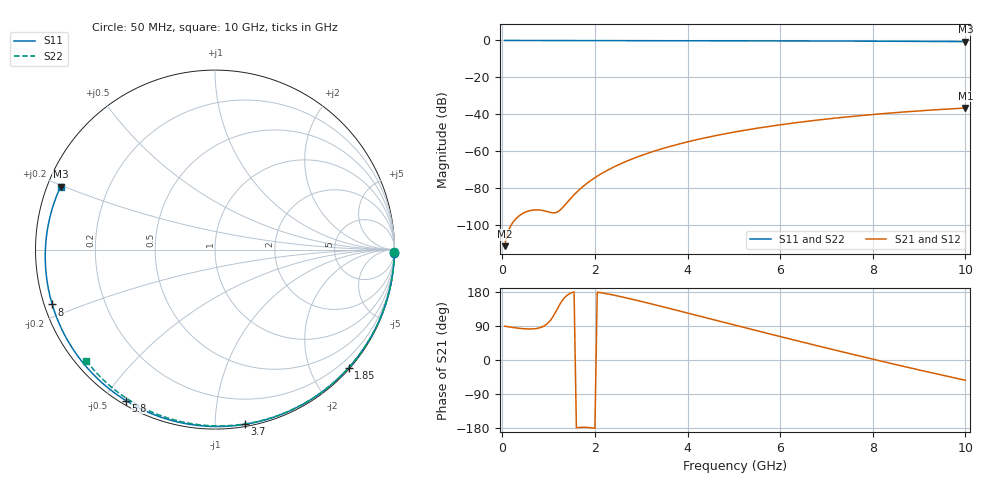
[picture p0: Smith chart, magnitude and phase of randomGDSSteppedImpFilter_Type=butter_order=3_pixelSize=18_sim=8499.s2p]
! freq	dB(S11)	phase(S11)	dB(S12)	phase(S12)
!  dB(S21)	phase(S21)	dB(S22)	phase(S22)
!S-par simulation data
#  GHz  S  DB  R 50
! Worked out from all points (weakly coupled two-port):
!   200 points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, 50 MHz to 10 GHz, reference 50 ohm
!   highest |S21| = -36.62 dB at 10 GHz (marker M1); lowest = -111.5 dB at 50 MHz (marker M2)
!   lowest |S11| = -0.6 dB at 10 GHz (marker M3), VSWR 27.34, Z = 1.9 + j9.79 ohm
!   |S11| at or under -10 dB: nowhere
!   |S22| runs from -0.5 to 0.0 dB; largest |S21 - S12| = 0
!   S11 on the Smith chart (normalised r, x): 50 MHz: open; 1.85 GHz: 0.02, -2.64; 3.7 GHz: 0.01, -1.19; 5.8 GHz: 0.02, -0.57; 8 GHz: 0.02, -0.16; 10 GHz: 0.04, +0.20
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0.05  -0.00 -1.2  -111.47 89.2  -111.47 89.2  -0.00 -0.8
0.45  -0.01 -10.3  -93.62 82.7  -93.62 82.7  -0.01 -7.2
0.85  -0.02 -19.3  -92.01 86.8  -92.01 86.8  -0.02 -13.6
1.25  -0.04 -28.3  -91.88 148.6  -91.88 148.6  -0.03 -20.0
1.7  -0.05 -38.3  -80.02 -177.7  -80.02 -177.7  -0.03 -27.0
1.75  -0.05 -39.4  -78.96 -177.6  -78.96 -177.6  -0.04 -27.8
1.85  -0.05 -41.6  -76.99 -178.1  -76.99 -178.1  -0.04 -29.3
2.15  -0.06 -48.1  -72.03 177.2  -72.03 177.2  -0.04 -34.0
2.5  -0.07 -55.5  -67.47 168.7  -67.47 168.7  -0.05 -39.3
2.9  -0.08 -63.9  -63.28 157.5  -63.28 157.5  -0.06 -45.4
3.4  -0.10 -74.2  -59.04 142.5  -59.04 142.5  -0.07 -52.8
3.7  -0.11 -80.3  -56.89 133.3  -56.89 133.3  -0.08 -57.2
4.35  -0.13 -93.1  -52.92 113.0  -52.92 113.0  -0.09 -66.6
5.05  -0.16 -106.5  -49.46 91.2  -49.46 91.2  -0.12 -76.4
5.8  -0.20 -120.6  -46.43 68.0  -46.43 68.0  -0.15 -86.6
6.7  -0.26 -137.2  -43.46 40.6  -43.46 40.6  -0.19 -98.4
7.35  -0.32 -149.2  -41.67 21.3  -41.67 21.3  -0.23 -106.7
8  -0.38 -161.4  -40.13 2.2  -40.13 2.2  -0.28 -114.8
8.35  -0.42 -168.1  -39.39 -7.8  -39.39 -7.8  -0.30 -119.1
9.2  -0.52 174.9  -37.82 -31.8  -37.82 -31.8  -0.38 -129.5
9.6  -0.58 166.6  -37.19 -42.8  -37.19 -42.8  -0.42 -134.3
10  -0.64 157.8  -36.62 -53.5  -36.62 -53.5  -0.47 -139.2
